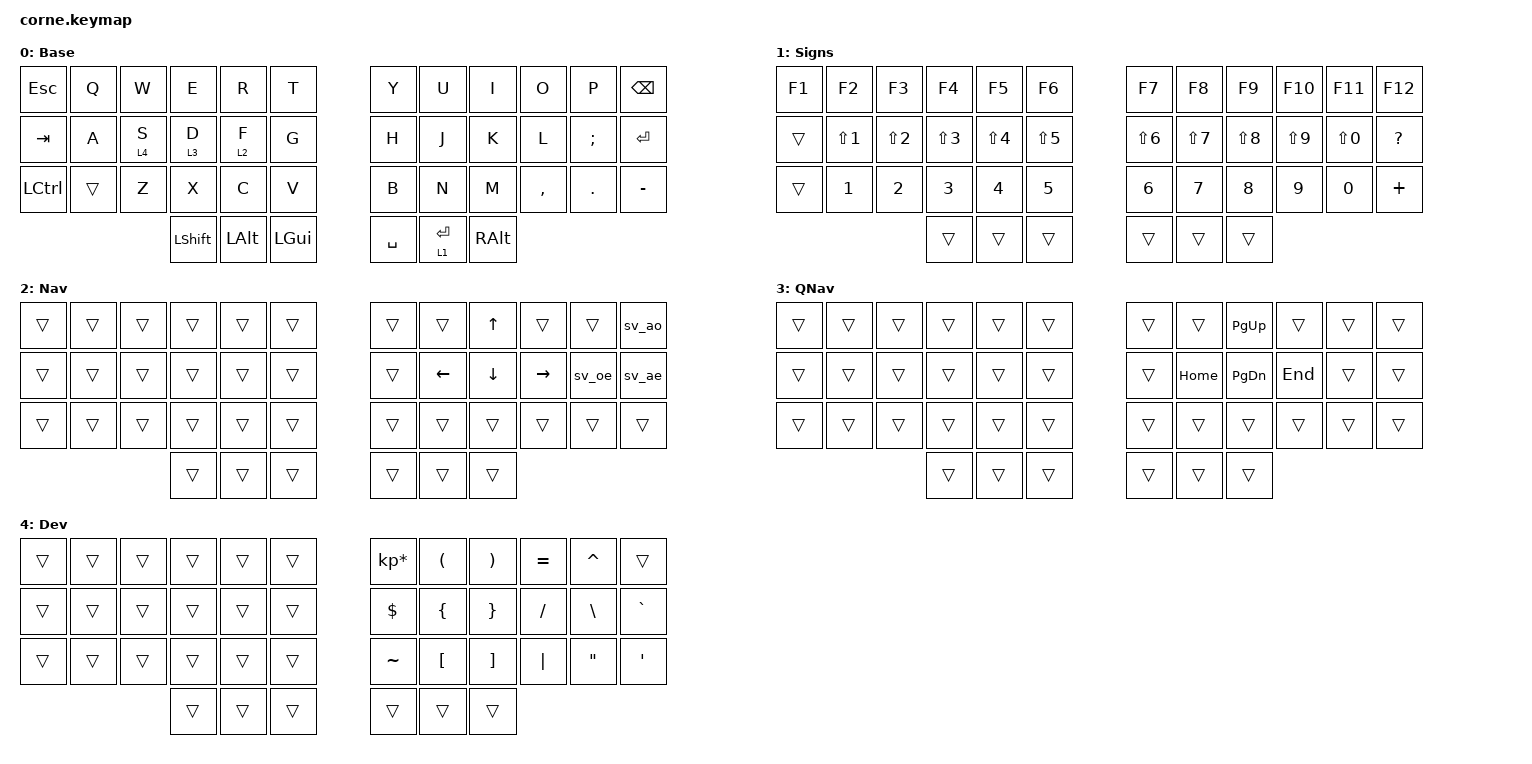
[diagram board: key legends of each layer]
#include <behaviors.dtsi>
#include <dt-bindings/zmk/keys.h>
#include <dt-bindings/zmk/bt.h>

#define HOST_OS 2

#include "zmk-helpers/helper.h"
#include "zmk-helpers/unicode-chars/swedish.dtsi"

&lt {
    tapping-term-ms = <300>;
};

/ {
    keymap {
        compatible = "zmk,keymap";

        default_layer {
            display-name = "Base";
            bindings = <
&kp ESC    &kp Q    &kp W    &kp E       &kp R     &kp T       &kp Y      &kp U      &kp I      &kp O      &kp P     &kp BSPC
&kp TAB    &kp A    &lt 4 S  &lt 3 D     &lt 2 F   &kp G       &kp H      &kp J      &kp K      &kp L      &kp SEMI  &kp RET
&kp LCTRL  &trans   &kp Z    &kp X       &kp C     &kp V       &kp B      &kp N      &kp M      &kp COMMA  &kp DOT   &kp MINUS
                             &kp LSHIFT  &kp LALT  &kp LGUI    &kp SPACE  &lt 1 RET  &kp RALT
            >;
        };

        signs_layer {
            // -----------------------------------------------------------------------------------------
            // | F1 |  F2 |  F3 |  F4 |  F5 |  F6 |   | F7  |  F8 |  F9 | F10 | F11 | F12 |
            // |    |  !  |  "  |  #  |  $  |  %  |   |  &  |  /  |  (  |  )  |  =  |  ?  |
            // |    |  1  |  2  |  3  |  4  |  5  |   |  6  |  7  |  8  |  9  |  0  |  +  |
            //                  |     |     |     |   |     |     |     |

            display-name = "Signs";
            bindings = <
&kp F1  &kp F2      &kp F3      &kp F4      &kp F5      &kp F6        &kp F7      &kp F8      &kp F9      &kp F10     &kp F11     &kp F12
&trans  &kp LS(N1)  &kp LS(N2)  &kp LS(N3)  &kp LS(N4)  &kp LS(N5)    &kp LS(N6)  &kp LS(N7)  &kp LS(N8)  &kp LS(N9)  &kp LS(N0)  &kp QMARK
&trans  &kp N1      &kp N2      &kp N3      &kp N4      &kp N5        &kp N6      &kp N7      &kp N8      &kp N9      &kp N0      &kp PLUS
                                &trans      &trans      &trans        &trans      &trans      &trans
            >;
        };

        nav_layer {
            // -----------------------------------------------------------------------------------------
            // |      |     |     |     |     |     |   |     |     | UP  |     |     |  Å  |
            // |      |     |     |     |     |     |   |     | LEFT| DOWN|RIGHT|  Ö  |  Ä  |
            // |      |     |     |     |     |     |   |     |     |     |     |     |     |
            //                    |     |     |     |   |     |     |     |

            display-name = "Nav";
            bindings = <
&trans  &trans  &trans  &trans  &trans  &trans    &trans  &trans    &kp UP    &trans     &trans  &sv_ao
&trans  &trans  &trans  &trans  &trans  &trans    &trans  &kp LEFT  &kp DOWN  &kp RIGHT  &sv_oe  &sv_ae
&trans  &trans  &trans  &trans  &trans  &trans    &trans  &trans    &trans    &trans     &trans  &trans
                        &trans  &trans  &trans    &trans  &trans    &trans
            >;
        };

        qnav_layer {
            // -----------------------------------------------------------------------------------------
            // |      |     |     |     |     |     |   |     |      | PGUP   |      |     |      |
            // |      |     |     |     |     |     |   |     | HOME | PGDOWN | END  |     |      |
            // |      |     |     |     |     |     |   |     |      |        |      |     |      |
            //                    |     |     |     |   |     |      |        |

            display-name = "QNav";
            bindings = <
&trans  &trans  &trans  &trans  &trans  &trans    &trans  &trans    &kp PG_UP  &trans   &trans  &trans
&trans  &trans  &trans  &trans  &trans  &trans    &trans  &kp HOME  &kp PG_DN  &kp END  &trans  &trans
&trans  &trans  &trans  &trans  &trans  &trans    &trans  &trans    &trans     &trans   &trans  &trans
                        &trans  &trans  &trans    &trans  &trans    &trans
            >;
        };

        coding_layer {
            // -----------------------------------------------------------------------------------------
            // |      |     |     |     |     |     |   |  *  |  (  |  )  |  =  |  ^  | BKSP |
            // |      |     |     |     |     |     |   |  $  |  {  |   } |  /  |  \  |  `   |
            // |      |     |     |     |     |     |   |  ~  |  [  |  ]  | "|" |  "  |  '   |
            //                    |     |     |     |   |     |     |     |               

            display-name = "Dev";
            bindings = <
&trans  &trans  &trans  &trans  &trans  &trans    &kp KP_MULTIPLY  &kp LPAR  &kp RPAR  &kp EQUAL  &kp CARET          &trans
&trans  &trans  &trans  &trans  &trans  &trans    &kp DLLR         &kp LBRC  &kp RBRC  &kp FSLH   &kp BSLH           &kp GRAVE
&trans  &trans  &trans  &trans  &trans  &trans    &kp TILDE        &kp LBKT  &kp RBKT  &kp PIPE   &kp DOUBLE_QUOTES  &kp SQT
                        &trans  &trans  &trans    &trans           &trans    &trans
            >;
        };
    };
};
